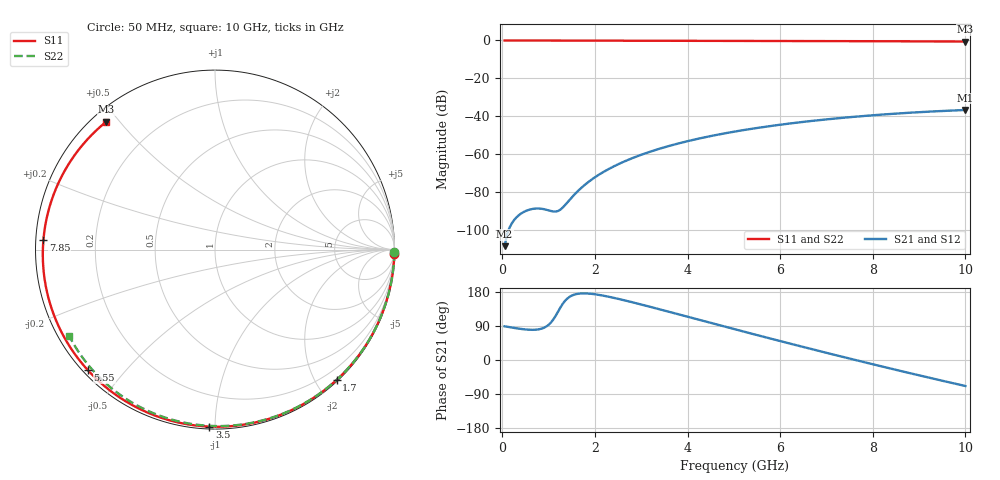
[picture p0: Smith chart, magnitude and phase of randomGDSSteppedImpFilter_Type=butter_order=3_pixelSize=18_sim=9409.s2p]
! freq	dB(S11)	phase(S11)	dB(S12)	phase(S12)
!  dB(S21)	phase(S21)	dB(S22)	phase(S22)
!S-par simulation data
#  GHz  S  DB  R 50
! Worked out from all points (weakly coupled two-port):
!   200 points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, 50 MHz to 10 GHz, reference 50 ohm
!   highest |S21| = -36.66 dB at 10 GHz (marker M1); lowest = -108.4 dB at 50 MHz (marker M2)
!   lowest |S11| = -0.6 dB at 10 GHz (marker M3), VSWR 29.90, Z = 2.03 + j23.1 ohm
!   |S11| at or under -10 dB: nowhere
!   |S22| runs from -0.5 to 0.0 dB; largest |S21 - S12| = 0
!   S11 on the Smith chart (normalised r, x): 50 MHz: 0, -80; 1.7 GHz: 0.02, -2.30; 3.5 GHz: 0.01, -0.97; 5.55 GHz: 0.01, -0.40; 7.85 GHz: 0.02, +0.03; 10 GHz: 0.04, +0.46
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0.05  -0.00 -1.4  -108.44 88.9  -108.44 88.9  -0.00 -0.9
0.4  -0.02 -11.3  -91.33 82.0  -91.33 82.0  -0.01 -6.9
0.8  -0.03 -22.5  -88.62 81.2  -88.62 81.2  -0.02 -13.8
1.2  -0.04 -33.5  -89.93 126.8  -89.93 126.8  -0.03 -20.6
1.6  -0.06 -44.3  -80.16 174.0  -80.16 174.0  -0.03 -27.3
1.7  -0.06 -47.0  -77.84 175.6  -77.84 175.6  -0.04 -29.0
1.75  -0.06 -48.3  -76.76 175.8  -76.76 175.8  -0.04 -29.8
2.05  -0.07 -56.2  -71.33 172.6  -71.33 172.6  -0.04 -34.8
2.45  -0.08 -66.4  -65.87 162.9  -65.87 162.9  -0.05 -41.4
2.9  -0.10 -77.6  -61.17 149.6  -61.17 149.6  -0.06 -48.7
3.4  -0.11 -89.5  -57.04 133.7  -57.04 133.7  -0.07 -56.6
3.5  -0.12 -91.9  -56.32 130.5  -56.32 130.5  -0.08 -58.2
4.25  -0.14 -108.9  -51.69 106.1  -51.69 106.1  -0.10 -69.8
5.05  -0.18 -126.1  -47.90 80.2  -47.90 80.2  -0.12 -81.7
5.55  -0.21 -136.5  -45.95 64.2  -45.95 64.2  -0.15 -89.0
6.15  -0.25 -148.8  -43.95 45.2  -43.95 45.2  -0.17 -97.5
6.7  -0.28 -159.9  -42.37 28.1  -42.37 28.1  -0.20 -105.1
7.3  -0.33 -172.0  -40.89 9.8  -40.89 9.8  -0.24 -113.3
7.85  -0.38 176.8  -39.73 -6.8  -39.73 -6.8  -0.28 -120.7
8.35  -0.42 166.5  -38.81 -21.6  -38.81 -21.6  -0.33 -127.4
9.15  -0.50 149.5  -37.61 -44.8  -37.61 -44.8  -0.40 -138.0
10  -0.58 130.4  -36.66 -68.6  -36.66 -68.6  -0.50 -149.3
